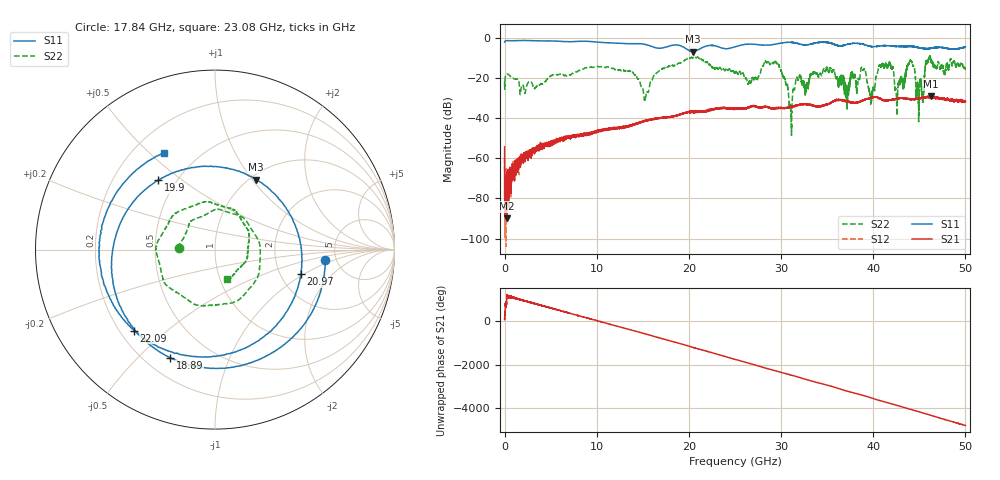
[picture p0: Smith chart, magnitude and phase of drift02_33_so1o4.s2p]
!Created with skrf (http://scikit-rf.org).
# Hz S RI R 50.0
!freq ReS11 ImS11 ReS21 ImS21 ReS12 ImS12 ReS22 ImS22
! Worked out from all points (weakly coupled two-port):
!   10001 points, 300 kHz to 50 GHz, reference 50 ohm
!   highest |S21| = -29.14 dB at 46.23 GHz (marker M1); lowest = -89.8 dB at 225.3 MHz (marker M2)
!   lowest |S11| = -6.9 dB at 20.4 GHz (marker M3), VSWR 2.64, Z = 53.1 + j52 ohm
!   |S11| at or under -10 dB: nowhere
!   |S22| runs from -48.6 to -9.0 dB; largest |S21 - S12| = 0.0031
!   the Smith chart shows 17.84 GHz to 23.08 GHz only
!   S11 on the Smith chart (normalised r, x): 17.84 GHz: 4.08, -0.74; 18.89 GHz: 0.30, -0.63; 19.9 GHz: 0.40, +0.41; 20.97 GHz: 2.58, -0.94; 22.09 GHz: 0.26, -0.39; 23.08 GHz: 0.32, +0.55
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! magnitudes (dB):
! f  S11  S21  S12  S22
! 300 kHz  -2.2  -54.3  -59.8  -21.6
! 225.3 MHz  -1.4  -89.8  -72.4  -18.1
! 8.335 GHz  -1.7  -48.5  -48.6  -15.8
! 15.32 GHz  -3.4  -41.3  -41.3  -29.4
! 16.67 GHz  -5.2  -40.0  -40.0  -17.0
! 17.84 GHz  -4.2  -39.7  -39.4  -14.0
! 18.89 GHz  -3.7  -38.5  -38.4  -12.5
! 19.9 GHz  -6.0  -37.1  -37.0  -10.2
! 20.4 GHz  -6.9  -36.8  -36.9  -10.0
! 20.97 GHz  -6.1  -36.8  -36.3  -9.7
! 22.09 GHz  -3.9  -36.2  -36.5  -12.8
! 23.08 GHz  -4.3  -35.0  -35.3  -15.0
! 25 GHz  -4.5  -35.0  -35.4  -17.5
! 29.5 GHz  -3.0  -34.9  -35.1  -12.6
! 31.03 GHz  -2.3  -34.5  -34.7  -35.1
! 33.34 GHz  -3.0  -33.5  -33.6  -18.3
! 39.78 GHz  -4.4  -30.0  -30.0  -31.7
! 41.67 GHz  -4.0  -31.1  -31.1  -13.0
! 44.17 GHz  -4.2  -30.7  -30.7  -11.9
! 44.85 GHz  -4.7  -30.1  -30.0  -24.1
! 46.23 GHz  -5.3  -29.1  -29.2  -10.2
! 50 GHz  -4.6  -31.9  -31.9  -15.6
